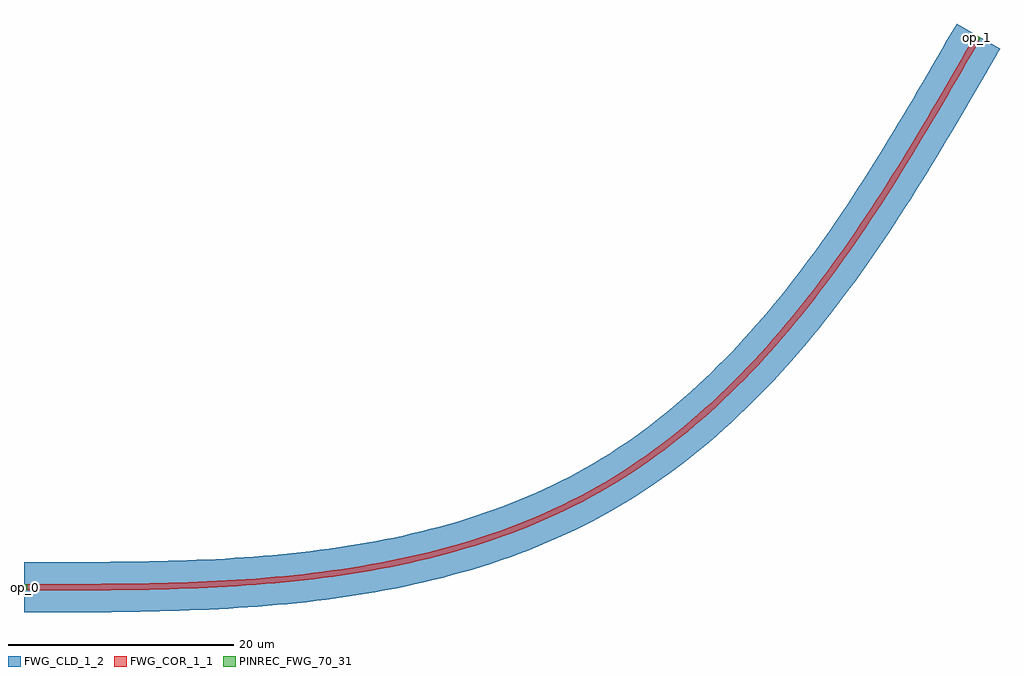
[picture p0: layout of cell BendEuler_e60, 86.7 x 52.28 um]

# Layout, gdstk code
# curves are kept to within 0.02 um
import gdstk
lib = gdstk.Library(unit=1e-6, precision=1e-09)
def R(c, l, rs):  # rectangles x0, y0, x1, y1
    for r in rs: c.add(gdstk.rectangle(r[:2], r[2:], *l))
def P(c, l, *ps):  # polygons
    for p in ps: c.add(gdstk.Polygon(p, *l))
FWG_COR_1_1 = (1, 1)
FWG_CLD_1_2 = (1, 2)
PINREC_FWG_70_31 = (70, 31)

c_wg = lib.new_cell('wg')
P(c_wg, FWG_COR_1_1, [(0,0.275),(9.438,0.315),(13.724,0.412),(17.149,0.555),(20.569,0.771),(23.98,1.077),(27.38,1.489),(29.918,1.876),(33.281,2.507),(35.783,3.075),(37.439,3.502),(39.083,3.969),(41.526,4.75),(43.933,5.63),(46.299,6.615),(48.616,7.708),(50.876,8.912),(53.071,10.23),(55.199,11.656),(57.258,13.182),(59.247,14.798),(61.167,16.497),(63.019,18.271),(64.805,20.112),(67.087,22.661),(68.729,24.634),(70.831,27.336),(72.843,30.107),(74.776,32.936),(76.641,35.812),(78.896,39.457),(81.089,43.142),(84.533,49.08),(85.009,48.805),(81.997,43.605),(79.81,39.908),(77.564,36.244),(75.708,33.349),(73.786,30.496),(71.785,27.696),(69.694,24.961),(68.062,22.959),(65.791,20.368),(64.014,18.492),(62.792,17.277),(61.54,16.092),(59.603,14.379),(57.595,12.747),(55.516,11.207),(53.366,9.766),(51.147,8.434),(48.862,7.216),(46.521,6.112),(44.133,5.118),(42.517,4.514),(40.886,3.956),(38.413,3.201),(36.749,2.751),(35.076,2.34),(32.55,1.796),(29.158,1.195),(25.748,0.723),(22.325,0.364),(18.036,0.052),(13.741,-0.137),(8.587,-0.246),(0,-0.275)])
P(c_wg, FWG_CLD_1_2, [(0,2.225),(9.41,2.265),(13.661,2.361),(17.048,2.502),(19.579,2.654),(22.94,2.933),(26.281,3.309),(28.77,3.665),(31.243,4.09),(34.509,4.775),(36.929,5.384),(39.32,6.08),(41.675,6.868),(43.991,7.753),(46.259,8.737),(48.473,9.825),(50.625,11.019),(52.716,12.323),(54.744,13.73),(56.062,14.722),(57.351,15.754),(59.232,17.373),(60.452,18.497),(61.644,19.653),(63.381,21.445),(65.607,23.93),(67.735,26.513),(69.773,29.181),(71.731,31.92),(73.618,34.721),(75.446,37.573),(77.667,41.195),(79.838,44.866),(82.844,50.055),(86.698,47.83),(83.245,41.877),(81.035,38.162),(78.753,34.473),(76.858,31.552),(74.888,28.669),(72.83,25.835),(70.674,23.063),(68.985,21.033),(66.63,18.403),(64.782,16.498),(63.51,15.264),(62.204,14.061),(60.182,12.321),(58.791,11.207),(57.366,10.134),(55.163,8.606),(52.884,7.185),(50.533,5.881),(48.934,5.079),(47.312,4.329),(45.67,3.631),(44.01,2.984),(42.335,2.385),(40.646,1.832),(38.946,1.326),(37.236,0.863),(35.518,0.441),(33.794,0.06),(32.064,-0.283),(29.461,-0.731),(27.722,-0.988),(25.111,-1.314),(20.758,-1.722),(16.409,-1.985),(12.07,-2.135),(6.882,-2.211),(0,-2.225)])
R(c_wg, PINREC_FWG_70_31, [(0,-0.275,0.3,0.275)])
P(c_wg, PINREC_FWG_70_31, [(84.383,48.82),(84.533,49.08),(85.009,48.805),(84.859,48.545)])
c_wg.add(gdstk.Label('op_0', (0.15,0), layer=70, texttype=41))
c_wg.add(gdstk.Label('op_1', (84.696,48.813), layer=70, texttype=41))

bendeuler_e60 = lib.new_cell('BendEuler_e60')
R(bendeuler_e60, PINREC_FWG_70_31, [(0,-0.275,0.3,0.275)])
P(bendeuler_e60, PINREC_FWG_70_31, [(84.383,48.82),(84.533,49.08),(85.009,48.805),(84.859,48.545)])
bendeuler_e60.add(gdstk.Reference(c_wg, (0,0)))
bendeuler_e60.add(gdstk.Label('op_0', (0.15,0), layer=70, texttype=41))
bendeuler_e60.add(gdstk.Label('op_1', (84.696,48.813), layer=70, texttype=41))

lib.write_gds('BendEuler_e60.gds')
